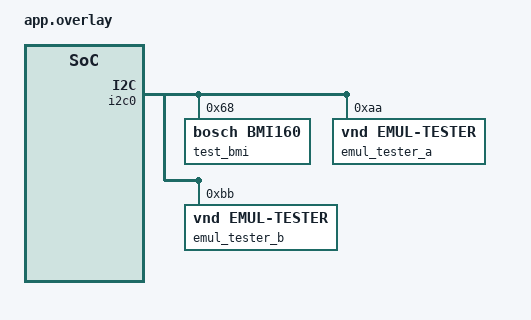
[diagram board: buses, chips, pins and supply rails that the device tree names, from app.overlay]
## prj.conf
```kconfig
# Copyright 2022 Google LLC
#
# SPDX-License-Identifier: Apache-2.0

CONFIG_ZTEST=y
CONFIG_ZTEST_NEW_API=y
CONFIG_SENSOR=y
CONFIG_BMI160_TRIGGER_NONE=y
```

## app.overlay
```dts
/*
 * Copyright 2022 Google LLC
 *
 * SPDX-License-Identifier: Apache-2.0
 *
 * Application overlay for testing the emul.h API.
 *
 * Names in this file should be chosen in a way that won't conflict
 * with real-world devicetree nodes, to allow these tests to run on
 * (and be extended to test) real hardware.
 */

&i2c0 {
	test_bmi: bmi@68 {
		compatible = "bosch,bmi160";
		reg = <0x68>;
		status = "okay";
	};

	emul_tester_a: driver@aa {
		compatible = "vnd,emul-tester";
                reg = <0xaa>;
		status = "okay";
		scale = <1>;
	};
	emul_tester_b: driver@bb {
		compatible = "vnd,emul-tester";
                reg = <0xbb>;
		status = "okay";
		scale = <10>;
	};
};
```

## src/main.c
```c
/*
 * Copyright 2022 Google LLC
 *
 * SPDX-License-Identifier: Apache-2.0
 */

#include "emul_tester.h"

#include <zephyr/device.h>
#include <zephyr/devicetree.h>
#include <zephyr/drivers/emul.h>
#include <zephyr/ztest.h>
#include <zephyr/ztest_assert.h>
#include <zephyr/ztest_test_new.h>

#define TEST_ACCEL DT_NODELABEL(test_bmi)

#define TEST_EMUL_A DT_NODELABEL(emul_tester_a)
#define TEST_EMUL_B DT_NODELABEL(emul_tester_b)

ZTEST(emul, test_emul_dt_get)
{
	/* This variable is static to verify that the result of EMUL_DT_GET is a
	 * compile-time constant.
	 */
	static const struct emul *emul_static = EMUL_DT_GET(TEST_ACCEL);

	/* Verify that EMUL_DT_GET returned the expected struct emul. */
	zassert_not_null(emul_static, "EMUL_DT_GET returned NULL");
	zassert_ok(strcmp(emul_static->dev->name, DT_NODE_FULL_NAME(TEST_ACCEL)),
		   "Unexpected device name %s", emul_static->dev->name);
}

ZTEST(emul, test_emul_backend_api)
{
	static const struct emul *emul_a = EMUL_DT_GET(TEST_EMUL_A);
	static const struct emul *emul_b = EMUL_DT_GET(TEST_EMUL_B);
	int set_action_value;
	int scale;
	int get_action_value;

	set_action_value = 5;

	scale = DT_PROP(TEST_EMUL_A, scale);
	zassert_not_null(emul_a, "emul_tester_a not found");
	zassert_ok(emul_tester_backend_set_action(emul_a, set_action_value));
	zassert_ok(emul_tester_backend_get_action(emul_a, &get_action_value));
	zassert_equal(get_action_value, set_action_value * scale);

	scale = DT_PROP(TEST_EMUL_B, scale);
	zassert_not_null(emul_b, "emul_tester_b not found");
	zassert_ok(emul_tester_backend_set_action(emul_b, set_action_value));
	zassert_ok(emul_tester_backend_get_action(emul_b, &get_action_value));
	zassert_equal(get_action_value, set_action_value * scale);
}

ZTEST_SUITE(emul, NULL, NULL, NULL, NULL, NULL);
```
